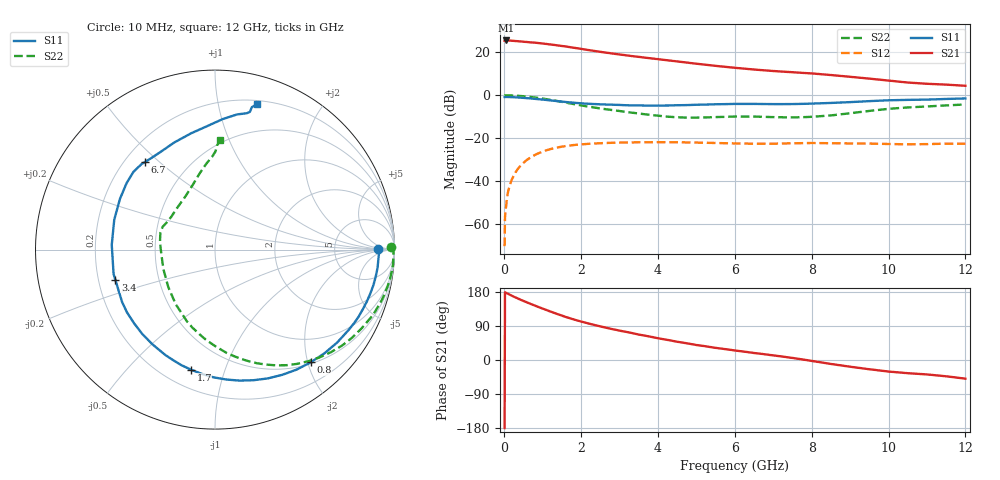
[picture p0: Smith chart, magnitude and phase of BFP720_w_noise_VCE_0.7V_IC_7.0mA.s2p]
! Infineon Technologies  Discrete & RF Semiconductors
! BFP720
! VCE =  0.7 V,  IC =  7.0 mA
! Common Emitter S-Parameters:  Aug 2012
# GHz  S  MA  R  50
!  f  S11  S21  S12  S22
! GHz  MAG  ANG  MAG  ANG  MAG  ANG  MAG  ANG
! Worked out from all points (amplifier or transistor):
!   105 points, 10 MHz to 12 GHz, reference 50 ohm
!   highest |S21| = 25.6 dB at 50 MHz (marker M1)
!   |S21| within 3 dB of that: start of sweep to 1.669 GHz
!   unconditionally stable (mu >= 1): start of sweep to 11.27 MHz; 6.35 GHz to end of sweep
!   at 300 MHz: K = 0.06, MSG = 30.6 dB, |S12| = -35.8 dB
!   at 3.6 GHz: K = 0.57, MSG = 19.8 dB, |S12| = -21.9 dB
!   at 12 GHz: K = 1.02, MAG = 12.7 dB, |S12| = -22.6 dB
!   lowest NFmin = 0.44 dB at 450 MHz
!   S11 on the Smith chart (normalised r, x): 10 MHz: 20, +1; 800 MHz: 0.52, -2.05; 1.7 GHz: 0.31, -0.77; 3.4 GHz: 0.27, -0.14; 6.7 GHz: 0.28, +0.45; 12 GHz: 0.23, +1.30
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0.01  0.9064 0.2  18.71 -179.6  0.0003 -2.6  0.9784 0.9
0.02  0.9145 -1.3  18.73 178.8  0.0014 82.6  0.9949 -0.8
0.05  0.9118 -3.3  19.02 177.2  0.0026 86.0  0.9943 -2.3
0.25  0.8993 -15.8  18.6 167.1  0.0135 80.8  0.9837 -11.9
0.45  0.8763 -28.0  17.95 158.0  0.024 73.5  0.9564 -21.2
0.8  0.8238 -49.7  16.9 143.5  0.0404 61.3  0.887 -37.1
1  0.7921 -61.7  16.12 135.6  0.0484 54.7  0.8367 -45.9
1.2  0.7586 -73.6  15.34 128.0  0.0552 48.5  0.7832 -54.4
1.4  0.7269 -84.9  14.52 120.7  0.0608 42.7  0.7281 -62.3
1.7  0.6821 -101.4  13.32 110.4  0.067 35.0  0.6483 -73.4
2.1  0.6394 -119.2  11.7 98.9  0.0724 26.6  0.56 -86.3
2.6  0.6097 -137.7  10.03 86.3  0.0766 18.2  0.4782 -100.6
3  0.5943 -150.6  8.955 77.5  0.0785 12.8  0.4289 -111.5
3.4  0.5802 -163.3  8.062 69.4  0.0795 7.9  0.3846 -122.2
4.1  0.575 174.5  6.785 55.7  0.0802 0.6  0.3263 -144.5
5  0.6004 151.8  5.453 39.6  0.0786 -7.3  0.3005 -176.8
6.1  0.6275 135.2  4.296 23.9  0.0749 -12.9  0.3182 161.5
6.7  0.6248 128.5  3.86 16.1  0.074 -14.3  0.3141 154.3
8.5  0.6615 101.6  2.965 -10.4  0.0759 -22.7  0.3383 119.4
9.5  0.7291 86.5  2.445 -24.4  0.0745 -27.0  0.4307 101.7
10.5  0.78 76.9  1.981 -34.8  0.0715 -29.5  0.5197 91.6
12  0.8432 73.9  1.662 -49.2  0.0739 -34.5  0.609 87.3
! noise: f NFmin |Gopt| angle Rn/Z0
0.45  0.44  0.4  3  -0.03
1.8  0.52  0.37  23  0.13
2.4  0.57  0.28  50  0.26
5.5  0.71  0.17  49  0.16
10  0.94  0.39  -86  0.2
